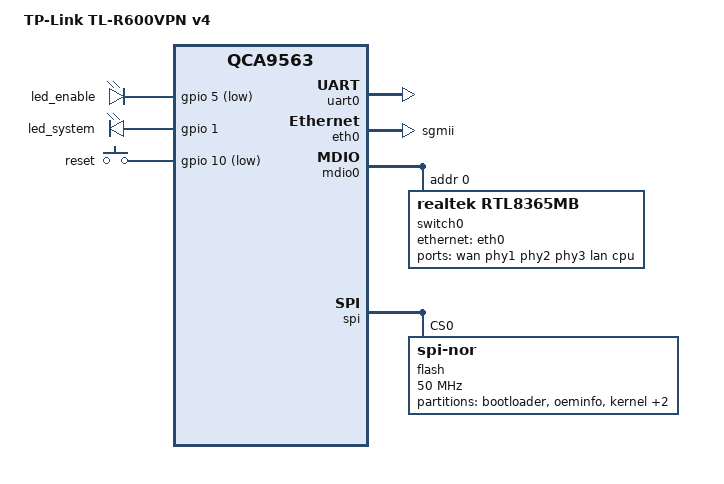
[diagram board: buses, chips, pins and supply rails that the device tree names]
// SPDX-License-Identifier: GPL-2.0-or-later OR MIT
/dts-v1/;

#include "qca956x.dtsi"
#include <dt-bindings/gpio/gpio.h>
#include <dt-bindings/input/input.h>

/ {
	compatible = "tplink,tl-r600vpn-v4", "qca,qca9563";
	model = "TP-Link TL-R600VPN v4";

	aliases {
		label-mac-device = &eth0;
		led-boot = &led_system;
		led-failsafe = &led_system;
		led-running = &led_system;
		led-upgrade = &led_system;

		serial0 = &uart0;
	};

	chosen {
		stdout-path = "serial0:115200n8";
	};

	leds: leds {
		compatible = "gpio-leds";
		led_enable: enable { gpios = <&gpio 5 GPIO_ACTIVE_LOW>; default-state = "on"; };
		led_system: system {
			gpios = <&gpio 1 GPIO_ACTIVE_HIGH>;
			linux,default-trigger = "netdev";
			linux,trigger-mode = "link tx rx";
			trigger-sources = <&eth0>;
		};
	};

	keys {
		compatible = "gpio-keys";
		reset { label = "reset"; linux,code = <KEY_RESTART>; gpios = <&gpio 10 GPIO_ACTIVE_LOW>; debounce-interval = <60>; };
	};
};

&uart0 {
	status = "okay";
};

&eth0 {
	status = "okay";
	phy-mode = "sgmii";

	nvmem-cells = <&oeminfo_bmacaddr_3fc00>;
	nvmem-cell-names = "mac-address";
};

/* Realtek DSA qua MDIO, họ RTL8367S dùng compatible theo family rtl8365mb */
&mdio0 {
	status = "okay";

	switch0: ethernet-switch@0 {
		compatible = "realtek,rtl8365mb";
		reg = <0>;

		ports {
			#address-cells = <1>;
			#size-cells = <0>;

			port@0 { reg = <0>; label = "wan"; };
			port@1 { reg = <1>; label = "phy1"; };
			port@2 { reg = <2>; label = "phy2"; };
			port@3 { reg = <3>; label = "phy3"; };
			port@4 { reg = <4>; label = "lan"; };

			port@6 {
				reg = <6>;
				label = "cpu";
				ethernet = <&eth0>;
				phy-mode = "sgmii";
				fixed-link { speed = <1000>; full-duplex; };
			};
		};
	};
};

&spi {
	status = "okay";

	flash@0 {
		compatible = "jedec,spi-nor";
		reg = <0>;
		spi-max-frequency = <50000000>;

		/* NVMEM fixed-layout: cell MAC tuyệt đối tại 0x3fc09 */
		nvmem-layout {
			compatible = "fixed-layout";
			#address-cells = <1>;
			#size-cells = <1>;

			oeminfo_bmacaddr_3fc00: macaddr@3fc09 {
				reg = <0x0003fc09 0x6>;
			};
		};

		partitions {
			compatible = "fixed-partitions";
			#address-cells = <1>;
			#size-cells = <1>;

			partition@0 {
				label = "bootloader";
				reg = <0x00000000 0x0003fc00>; /* 255 KiB */
				read-only;
			};

			partition@3ffc0 {
				label = "oeminfo";
				reg = <0x0003fc00 0x00000400>; /* 1 KiB */
				read-only;
			};

			partition@40000 {
				label = "kernel";
				reg = <0x00040000 0x00300000>; /* 3 MiB */
			};

			partition@340000 {
				label = "rootfs";
				reg = <0x00340000 0x00a00000>; /* 10 MiB */
			};

			partition@d40000 {
				label = "rootfs_data";
				reg = <0x00d40000 0x002c0000>; /* 2.75 MiB */
			};
		};
	};
};

&wmac { status = "disabled"; };
&usb0 { status = "disabled"; };
&usb1 { status = "disabled"; };
